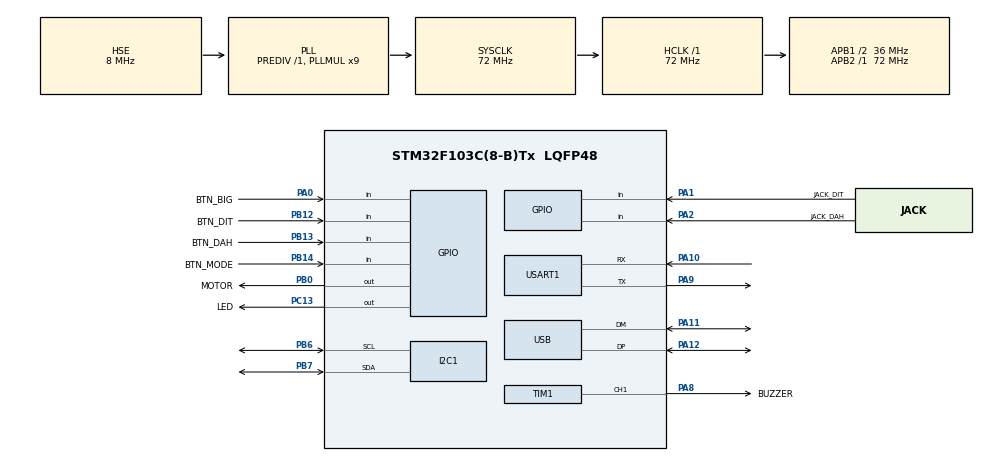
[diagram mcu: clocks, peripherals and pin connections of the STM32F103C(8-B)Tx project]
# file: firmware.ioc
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Mcu.Family=STM32F1
Mcu.Name=STM32F103C(8-B)Tx
Mcu.Package=LQFP48
NVIC.PriorityGroup=NVIC_PRIORITYGROUP_4
NVIC.USB_LP_CAN1_RX0_IRQn=true\:0\:0\:false\:false\:true\:false\:true\:true
PA0-WKUP.GPIO_Label=BTN_BIG
PA0-WKUP.GPIO_PuPd=GPIO_PULLUP
PA0-WKUP.Signal=GPIO_Input
PA1.GPIO_Label=JACK_DIT
PA1.GPIO_PuPd=GPIO_PULLUP
PA1.Signal=GPIO_Input
PA10.Mode=Asynchronous
PA10.Signal=USART1_RX
PA11.Mode=Device
PA11.Signal=USB_DM
PA12.Mode=Device
PA12.Signal=USB_DP
PA13.Mode=Serial_Wire
PA13.Signal=SYS_JTMS-SWDIO
PA14.Mode=Serial_Wire
PA14.Signal=SYS_JTCK-SWCLK
PA2.GPIO_Label=JACK_DAH
PA2.GPIO_PuPd=GPIO_PULLUP
PA2.Signal=GPIO_Input
PA8.GPIO_Label=BUZZER
PA8.Signal=S_TIM1_CH1
PA9.Mode=Asynchronous
PA9.Signal=USART1_TX
PB0.GPIO_Label=MOTOR
PB0.GPIO_PinState=GPIO_PIN_RESET
PB0.Signal=GPIO_Output
PB12.GPIO_Label=BTN_DIT
PB12.GPIO_PuPd=GPIO_PULLUP
PB12.Signal=GPIO_Input
PB13.GPIO_Label=BTN_DAH
PB13.GPIO_PuPd=GPIO_PULLUP
PB13.Signal=GPIO_Input
PB14.GPIO_Label=BTN_MODE
PB14.GPIO_PuPd=GPIO_PULLUP
PB14.Signal=GPIO_Input
PB6.Mode=I2C
PB6.Signal=I2C1_SCL
PB7.Mode=I2C
PB7.Signal=I2C1_SDA
PC13-TAMPER-RTC.GPIO_Label=LED
PC13-TAMPER-RTC.GPIO_PinState=GPIO_PIN_SET
PC13-TAMPER-RTC.Signal=GPIO_Output
PD0-OSC_IN.Mode=HSE-External-Oscillator
PD0-OSC_IN.Signal=RCC_OSC_IN
PD1-OSC_OUT.Mode=HSE-External-Oscillator
PD1-OSC_OUT.Signal=RCC_OSC_OUT
ProjectManager.HeapSize=0x200
ProjectManager.StackSize=0x400
ProjectManager.TargetToolchain=CMake
RCC.ADCPresc=RCC_ADCPCLK2_DIV6
RCC.AHBFreq_Value=72000000
RCC.APB1CLKDivider=RCC_HCLK_DIV2
RCC.APB1Freq_Value=36000000
RCC.APB1TimFreq_Value=72000000
RCC.APB2Freq_Value=72000000
RCC.APB2TimFreq_Value=72000000
RCC.HCLKFreq_Value=72000000
RCC.PLLMUL=RCC_PLL_MUL9
RCC.PLLSourceVirtual=RCC_PLLSOURCE_HSE
RCC.SYSCLKFreq_VALUE=72000000
RCC.SYSCLKSource=RCC_SYSCLKSOURCE_PLLCLK
RCC.USBFreq_Value=48000000
RCC.USBPrescaler=RCC_USBCLKSOURCE_PLL_DIV1_5
SH.S_TIM1_CH1.0=TIM1_CH1,PWM Generation1 CH1
TIM1.Channel-PWM\ Generation1\ CH1=TIM_CHANNEL_1
TIM1.Period=1666
TIM1.Prescaler=71
TIM1.Pulse-PWM\ Generation1\ CH1=833
USART1.VirtualMode=VM_ASYNC
USB_DEVICE.CLASS_NAME_FS=HID
USB_DEVICE.PRODUCT_STRING_HID_FS=DitDah Keyboard
USB_DEVICE.VirtualMode=Hid
USB_DEVICE.VirtualMode-HID=Hid
USB_DEVICE.VirtualModeFS=Hid_FS
VP_TIM1_VS_ClockSourceINT.Mode=Internal
VP_USB_DEVICE_VS_USB_DEVICE_HID_FS.Mode=HID_FS
board=custom

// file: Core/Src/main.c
/* USER CODE BEGIN Header */
/**
  ******************************************************************************
  * @file           : main.c
  * @brief          : Main program body
  ******************************************************************************
  * @attention
  *
  * Copyright (c) 2026 STMicroelectronics.
  * All rights reserved.
  *
  * This software is licensed under terms that can be found in the LICENSE file
  * in the root directory of this software component.
  * If no LICENSE file comes with this software, it is provided AS-IS.
  *
  ******************************************************************************
  */
/* USER CODE END Header */
#include "main.h"
#include "i2c.h"
#include "tim.h"
#include "usart.h"
#include "usb_device.h"
#include "gpio.h"

/* USER CODE BEGIN Includes */
#ifdef DITDAH_BRINGUP
#include "ditdah/bringup.h"   /* hardware check: .\build.ps1 -Bringup */
#else
#include "ditdah/app.h"
#endif
#include "ditdah/usb_reconnect.h"
/* USER CODE END Includes */

void SystemClock_Config(void);

int main(void)
{

  /* MCU Configuration--------------------------------------------------------*/

  /* Reset of all peripherals, Initializes the Flash interface and the Systick. */
  HAL_Init();

  /* Configure the system clock */
  SystemClock_Config();

  /* USER CODE BEGIN SysInit */
  usb_force_reconnect();
  /* USER CODE END SysInit */

  /* Initialize all configured peripherals */
  MX_GPIO_Init();
  MX_I2C1_Init();
  MX_TIM1_Init();
  MX_USART1_UART_Init();
  MX_USB_DEVICE_Init();
  /* USER CODE BEGIN 2 */
#ifdef DITDAH_BRINGUP
  bringup_init();
#else
  app_init();
#endif
  /* USER CODE END 2 */

  /* Infinite loop */
  while (1)
  {

    /* USER CODE BEGIN 3 */
#ifdef DITDAH_BRINGUP
    bringup_loop();
#else
    app_loop();
#endif
  }
  /* USER CODE END 3 */
}

void SystemClock_Config(void)
{
  RCC_OscInitTypeDef RCC_OscInitStruct = {0};
  RCC_ClkInitTypeDef RCC_ClkInitStruct = {0};
  RCC_PeriphCLKInitTypeDef PeriphClkInit = {0};

  /** Initializes the RCC Oscillators according to the specified parameters
  * in the RCC_OscInitTypeDef structure.
  */
  RCC_OscInitStruct.OscillatorType = RCC_OSCILLATORTYPE_HSE;
  RCC_OscInitStruct.HSEState = RCC_HSE_ON;
  RCC_OscInitStruct.HSEPredivValue = RCC_HSE_PREDIV_DIV1;
  RCC_OscInitStruct.HSIState = RCC_HSI_ON;
  RCC_OscInitStruct.PLL.PLLState = RCC_PLL_ON;
  RCC_OscInitStruct.PLL.PLLSource = RCC_PLLSOURCE_HSE;
  RCC_OscInitStruct.PLL.PLLMUL = RCC_PLL_MUL9;
  if (HAL_RCC_OscConfig(&RCC_OscInitStruct) != HAL_OK)
  {
    Error_Handler();
  }

  /** Initializes the CPU, AHB and APB buses clocks
  */
  RCC_ClkInitStruct.ClockType = RCC_CLOCKTYPE_HCLK|RCC_CLOCKTYPE_SYSCLK
                              |RCC_CLOCKTYPE_PCLK1|RCC_CLOCKTYPE_PCLK2;
  RCC_ClkInitStruct.SYSCLKSource = RCC_SYSCLKSOURCE_PLLCLK;
  RCC_ClkInitStruct.AHBCLKDivider = RCC_SYSCLK_DIV1;
  RCC_ClkInitStruct.APB1CLKDivider = RCC_HCLK_DIV2;
  RCC_ClkInitStruct.APB2CLKDivider = RCC_HCLK_DIV1;

  if (HAL_RCC_ClockConfig(&RCC_ClkInitStruct, FLASH_LATENCY_2) != HAL_OK)
  {
    Error_Handler();
  }
  PeriphClkInit.PeriphClockSelection = RCC_PERIPHCLK_USB;
  PeriphClkInit.UsbClockSelection = RCC_USBCLKSOURCE_PLL_DIV1_5;
  if (HAL_RCCEx_PeriphCLKConfig(&PeriphClkInit) != HAL_OK)
  {
    Error_Handler();
  }
}

void Error_Handler(void)
{
  __disable_irq();
  while (1)
  {
  }
}
